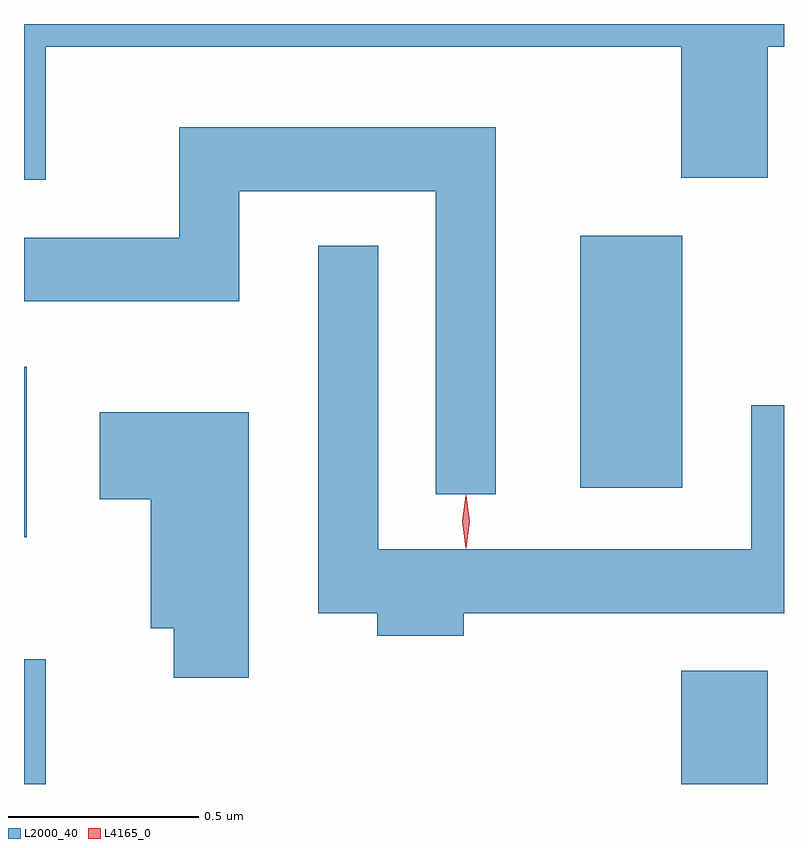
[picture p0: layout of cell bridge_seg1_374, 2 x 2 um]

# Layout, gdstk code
import gdstk
lib = gdstk.Library(unit=1e-6, precision=1e-09)
def R(c, l, rs):  # rectangles x0, y0, x1, y1
    for r in rs: c.add(gdstk.rectangle(r[:2], r[2:], *l))
def P(c, l, *ps):  # polygons
    for p in ps: c.add(gdstk.Polygon(p, *l))
L2000_40 = (2000, 40)
L4165_0 = (4165, 0)

bridge_seg1_374 = lib.new_cell('bridge_seg1_374')
R(bridge_seg1_374, L2000_40, [(929.742,873.216,929.799,873.544), (931.471,873.216,931.699,873.514), (929.742,873.866,929.749,874.314), (931.206,873.996,931.474,874.659)])
P(bridge_seg1_374, L2000_40, [(929.799,875.156),(931.471,875.156),(931.471,874.811),(931.699,874.811),(931.699,875.156),(931.742,875.156),(931.742,875.216),(929.742,875.216),(929.742,874.806),(929.799,874.806)],
  [(930.984,874.944),(930.151,874.944),(930.151,874.654),(929.742,874.654),(929.742,874.486),(930.309,874.486),(930.309,874.776),(930.826,874.776),(930.826,873.978),(930.984,873.978)],
  [(930.899,873.666),(931.742,873.666),(931.742,874.213),(931.656,874.213),(931.656,873.834),(930.674,873.834),(930.674,874.633),(930.516,874.633),(930.516,873.666),(930.671,873.666),(930.671,873.606),(930.899,873.606)],
  [(930.334,874.194),(929.941,874.194),(929.941,873.966),(930.076,873.966),(930.076,873.626),(930.136,873.626),(930.136,873.496),(930.334,873.496)])
P(bridge_seg1_374, L4165_0, [(930.905,873.837),(930.905,873.837),(930.895,873.907),(930.905,873.976),(930.905,873.976),(930.906,873.976),(930.915,873.907),(930.906,873.837)],
  [(930.904,873.84),(930.895,873.906),(930.904,873.972),(930.905,873.973),(930.906,873.972),(930.915,873.906),(930.906,873.84),(930.905,873.84)])

lib.write_gds('bridge_seg1_374.gds')
